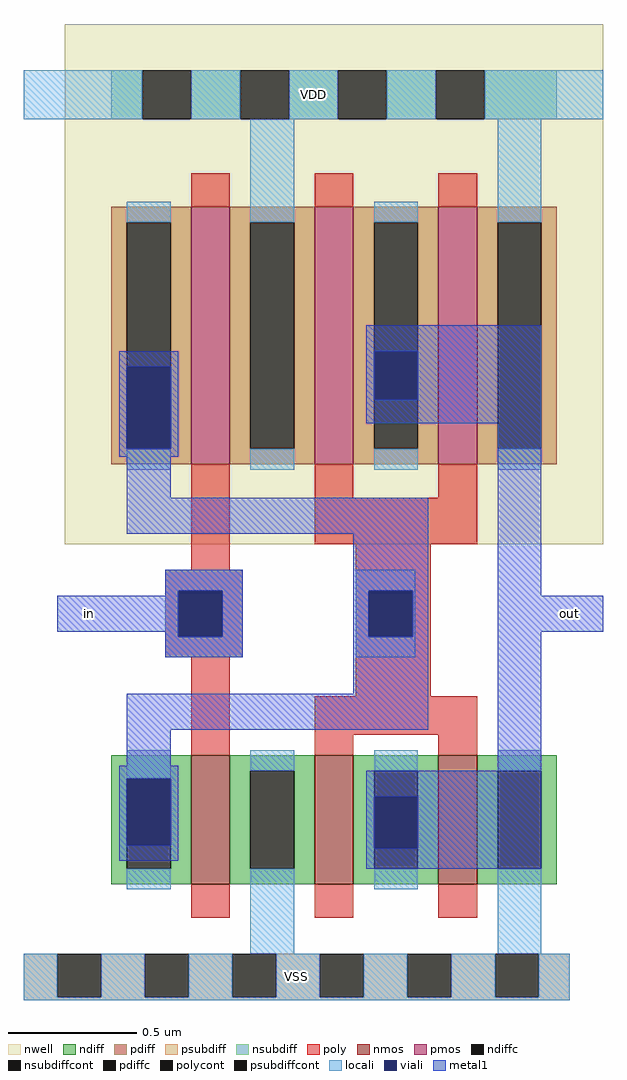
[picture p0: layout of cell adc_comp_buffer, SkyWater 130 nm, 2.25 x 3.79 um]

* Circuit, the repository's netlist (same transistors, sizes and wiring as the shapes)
* NGSPICE file created from adc_comp_buffer.ext - technology: sky130A

.subckt adc_comp_buffer in out VDD VSS
X0 VSS a_26_n218# out VSS sky130_fd_pr__nfet_01v8 ad=3.2e+11p pd=3.28e+06u as=1.65e+11p ps=1.66e+06u w=500000u l=150000u
X1 VSS in a_26_n218# VSS sky130_fd_pr__nfet_01v8 ad=0p pd=0u as=1.55e+11p ps=1.62e+06u w=500000u l=150000u
X2 out a_26_n218# VDD VDD sky130_fd_pr__pfet_01v8 ad=3.3e+11p pd=2.66e+06u as=6.4e+11p ps=5.28e+06u w=1e+06u l=150000u
X3 VDD a_26_n218# out VDD sky130_fd_pr__pfet_01v8 ad=0p pd=0u as=0p ps=0u w=1e+06u l=150000u
X4 out a_26_n218# VSS VSS sky130_fd_pr__nfet_01v8 ad=0p pd=0u as=0p ps=0u w=500000u l=150000u
X5 VDD in a_26_n218# VDD sky130_fd_pr__pfet_01v8 ad=0p pd=0u as=3.1e+11p ps=2.62e+06u w=1e+06u l=150000u
.ends

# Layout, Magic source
magic
tech sky130A
magscale 1 2
<< nwell >>
rect -10 48 408 452
<< nmos >>
rect 88 -216 118 -116
rect 184 -216 214 -116
rect 280 -216 310 -116
<< pmos >>
rect 88 110 118 310
rect 184 110 214 310
rect 280 110 310 310
<< ndiff >>
rect 26 -134 88 -116
rect 26 -204 38 -134
rect 72 -204 88 -134
rect 26 -216 88 -204
rect 118 -128 184 -116
rect 118 -204 134 -128
rect 168 -204 184 -128
rect 118 -216 184 -204
rect 214 -128 280 -116
rect 214 -204 230 -128
rect 264 -204 280 -128
rect 214 -216 280 -204
rect 310 -128 372 -116
rect 310 -204 326 -128
rect 360 -204 372 -128
rect 310 -216 372 -204
<< pdiff >>
rect 26 298 88 310
rect 26 122 38 298
rect 72 122 88 298
rect 26 110 88 122
rect 118 298 184 310
rect 118 122 134 298
rect 168 122 184 298
rect 118 110 184 122
rect 214 298 280 310
rect 214 122 230 298
rect 264 122 280 298
rect 214 110 280 122
rect 310 298 372 310
rect 310 122 326 298
rect 360 122 372 298
rect 310 110 372 122
<< ndiffc >>
rect 38 -204 72 -134
rect 134 -204 168 -128
rect 230 -204 264 -128
rect 326 -204 360 -128
<< pdiffc >>
rect 38 122 72 298
rect 134 122 168 298
rect 230 122 264 298
rect 326 122 360 298
<< psubdiff >>
rect -42 -304 -16 -270
rect 18 -304 52 -270
rect 86 -304 120 -270
rect 154 -304 188 -270
rect 222 -304 256 -270
rect 290 -304 324 -270
rect 358 -304 382 -270
rect -42 -306 382 -304
<< nsubdiff >>
rect 26 378 50 416
rect 88 378 126 416
rect 164 378 202 416
rect 240 378 278 416
rect 316 378 372 416
<< psubdiffcont >>
rect -16 -304 18 -270
rect 52 -304 86 -270
rect 120 -304 154 -270
rect 188 -304 222 -270
rect 256 -304 290 -270
rect 324 -304 358 -270
<< nsubdiffcont >>
rect 50 378 88 416
rect 126 378 164 416
rect 202 378 240 416
rect 278 378 316 416
<< poly >>
rect 88 310 118 336
rect 184 310 214 336
rect 280 310 310 336
rect 88 28 118 110
rect 184 84 214 110
rect 280 84 310 110
rect 184 48 310 84
rect 68 11 128 28
rect 68 -23 78 11
rect 112 -23 128 11
rect 68 -40 128 -23
rect 216 11 274 48
rect 216 -23 226 11
rect 260 -23 274 11
rect 88 -116 118 -40
rect 216 -70 274 -23
rect 184 -100 310 -70
rect 184 -116 214 -100
rect 280 -116 310 -100
rect 88 -242 118 -216
rect 184 -242 214 -216
rect 280 -242 310 -216
<< polycont >>
rect 78 -23 112 11
rect 226 -23 260 11
<< locali >>
rect -42 378 50 416
rect 88 378 126 416
rect 164 378 202 416
rect 240 378 278 416
rect 316 378 408 416
rect 38 298 72 314
rect 38 106 72 122
rect 134 298 168 378
rect 134 106 168 122
rect 230 298 264 314
rect 230 106 264 122
rect 326 298 360 378
rect 326 106 360 122
rect 68 12 128 28
rect 68 -24 78 12
rect 112 -24 128 12
rect 68 -40 128 -24
rect 216 12 262 28
rect 216 -24 226 12
rect 260 -24 262 12
rect 216 -40 262 -24
rect 38 -134 72 -112
rect 38 -220 72 -204
rect 134 -128 168 -112
rect 134 -270 168 -204
rect 230 -128 264 -112
rect 230 -220 264 -204
rect 326 -128 360 -112
rect 326 -270 360 -204
rect -42 -304 -16 -270
rect 18 -304 52 -270
rect 86 -304 120 -270
rect 154 -304 188 -270
rect 222 -304 256 -270
rect 290 -304 324 -270
rect 358 -304 382 -270
rect -42 -306 382 -304
<< viali >>
rect 38 122 72 186
rect 230 160 264 198
rect 78 11 112 12
rect 78 -23 112 11
rect 78 -24 112 -23
rect 226 11 260 12
rect 226 -23 260 11
rect 226 -24 260 -23
rect 38 -186 72 -134
rect 230 -188 264 -148
<< metal1 >>
rect 224 198 360 218
rect 32 186 78 198
rect 32 122 38 186
rect 72 122 78 186
rect 224 160 230 198
rect 264 160 360 198
rect 224 142 360 160
rect 32 116 78 122
rect 38 84 72 116
rect 38 56 272 84
rect 68 12 128 28
rect 68 8 78 12
rect -16 -20 78 8
rect 68 -24 78 -20
rect 112 -24 128 12
rect 68 -40 128 -24
rect 214 12 272 56
rect 214 -24 226 12
rect 260 -24 272 12
rect 214 -68 272 -24
rect 38 -96 272 -68
rect 326 8 360 142
rect 326 -20 408 8
rect 38 -124 72 -96
rect 32 -134 78 -124
rect 326 -128 360 -20
rect 32 -186 38 -134
rect 72 -186 78 -134
rect 32 -198 78 -186
rect 224 -148 360 -128
rect 224 -188 230 -148
rect 264 -188 360 -148
rect 224 -204 360 -188
<< labels >>
flabel metal1 356 -20 408 8 0 FreeSans 160 0 0 0 out
port 8 nsew
flabel metal1 -16 -20 34 8 0 FreeSans 160 0 0 0 in
port 12 nsew
flabel locali -42 -306 382 -270 0 FreeSans 160 0 0 0 VSS
port 13 nsew
flabel locali -42 378 408 416 0 FreeSans 160 0 0 0 VDD
port 14 nsew
<< end >>
